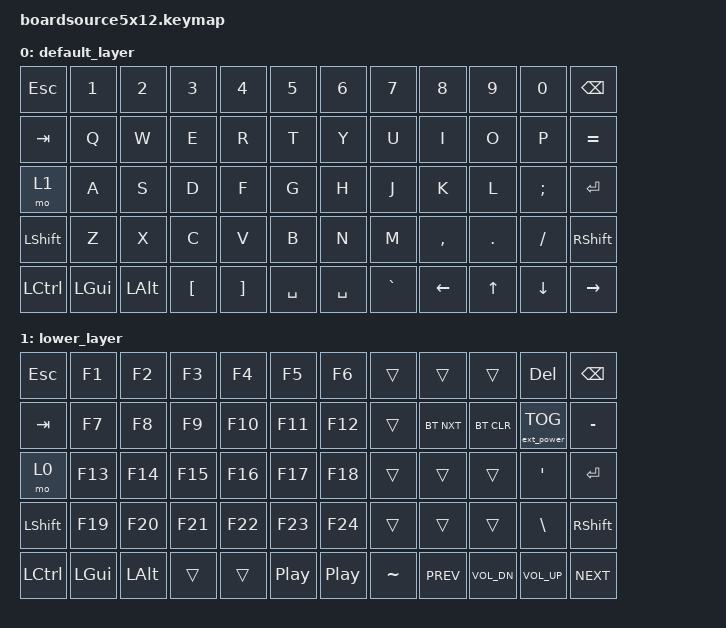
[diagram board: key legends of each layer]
/*
 * Copyright (c) 2021 The ZMK Contributors
 *
 * SPDX-License-Identifier: MIT
 */

#include <behaviors.dtsi>
#include <dt-bindings/zmk/keys.h>
#include <dt-bindings/zmk/bt.h>
#include <dt-bindings/zmk/ext_power.h>

/ {
    keymap {
        compatible = "zmk,keymap";

        default_layer {
            // ------------------------------------------------------------------------------------------
            // |  ESC  |  1   |  2   |  3   |  4   |  5   |   6   |  7    |  8   |  9   |   0   | BSPC  |
            // |  TAB  |  Q   |  W   |  E   |  R   |  T   |   Y   |  U    |  I   |  O   |   P   |  \    |
            // | SHIFT |  A   |  S   |  D   |  F   |  G   |   H   |  J    |  K   |  L   |   ;   |  '    |
            // | CTRL  |  Z   |  X   |  C   |  V   |  B   |   N   |  M    |  ,   |  .   |   /   | ENTER |
            // |ADJUST | LCTL | LALT | LGUI | LOWR | SPACE| SPACE |  RAIS | LARW | DARW | UARW  | RARW  |

            bindings = <
   &kp ESC    &kp N1    &kp N2            &kp N3             &kp N4     &kp N5     &kp N6     &kp N7     &kp N8   &kp N9    &kp N0    &kp BACKSPACE
   &kp TAB     &kp Q     &kp W             &kp E              &kp R      &kp T      &kp Y      &kp U      &kp I    &kp O     &kp P        &kp EQUAL
     &mo 1     &kp A     &kp S             &kp D              &kp F      &kp G      &kp H      &kp J      &kp K    &kp L  &kp SEMI          &kp RET
 &kp LSHFT     &kp Z     &kp X             &kp C              &kp V      &kp B      &kp N      &kp M  &kp COMMA  &kp DOT  &kp FSLH  &kp RIGHT_SHIFT
 &kp LCTRL  &kp LGUI  &kp LALT  &kp LEFT_BRACKET  &kp RIGHT_BRACKET  &kp SPACE  &kp SPACE  &kp GRAVE   &kp LEFT   &kp UP  &kp DOWN        &kp RIGHT
            >;
        };

        lower_layer {
            // -------------------------------------------------------------------------------------------
            // |  ESC  |  F2  |  F3  |  F4  |  F5  |  F6  |   F7  |  F8   |  F9  | F10  |  F11  |  F12  |
            // |   ~   |  !   |  @   |  #   |  $   |  %   |   ^   |   &   |  *   |  (   |   )   |  DEL  |
            // |       |  F1  |  F2  |  F3  |  F4  |  F5  |   F6  |   _   |  +   |  {   |   }   |   |   |
            // |       |  F7  |  F8  |  F9  |  F10 |  F11 |   F12 | LS(#) |LS(|) |      |       |       |
            // |       |      |      |      |      |      |       |       | NEXT | Vol- | Vol+ | PLAY   |

            bindings = <
       &kp ESCAPE        &kp F1        &kp F2   &kp F3   &kp F4            &kp F5            &kp F6     &trans      &trans        &trans            &kp DEL  &kp BACKSPACE
          &kp TAB        &kp F7        &kp F8   &kp F9  &kp F10           &kp F11           &kp F12     &trans  &bt BT_NXT    &bt BT_CLR  &ext_power EP_TOG      &kp MINUS
            &mo 0       &kp F13       &kp F14  &kp F15  &kp F16           &kp F17           &kp F18     &trans      &trans        &trans            &kp SQT      &kp ENTER
   &kp LEFT_SHIFT       &kp F19       &kp F20  &kp F21  &kp F22           &kp F23           &kp F24     &trans      &trans        &trans      &kp BACKSLASH      &kp RSHFT
 &kp LEFT_CONTROL  &kp LEFT_GUI  &kp LEFT_ALT   &trans   &trans  &kp C_PLAY_PAUSE  &kp C_PLAY_PAUSE  &kp TILDE  &kp C_PREV  &kp C_VOL_DN       &kp C_VOL_UP     &kp C_NEXT
            >;
        };
    };
};
